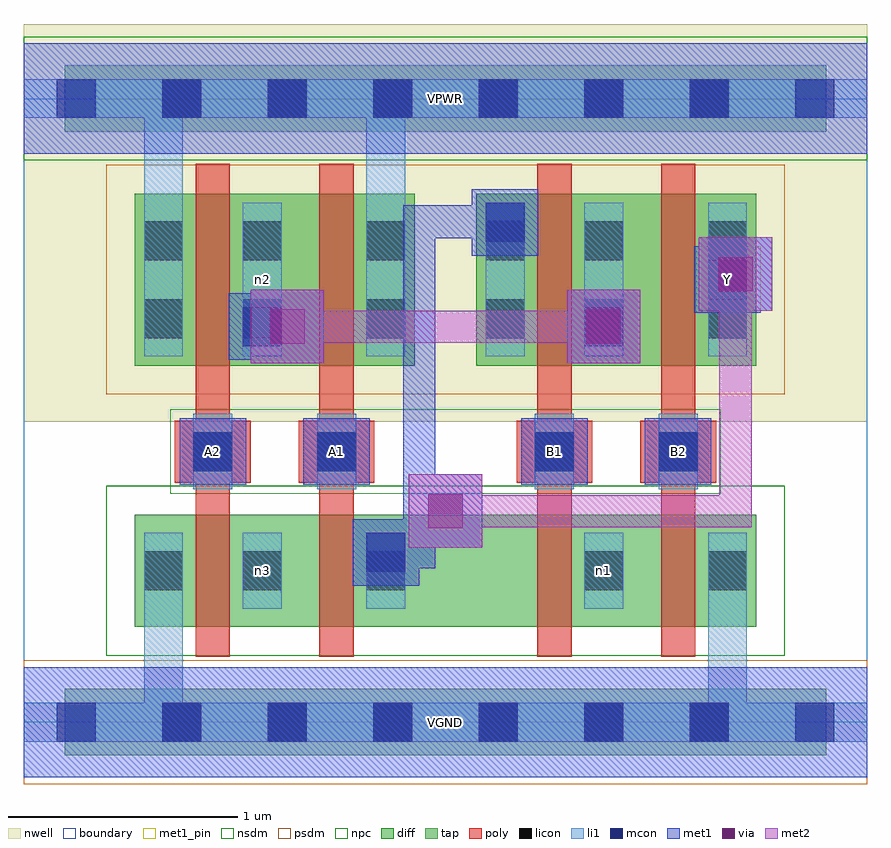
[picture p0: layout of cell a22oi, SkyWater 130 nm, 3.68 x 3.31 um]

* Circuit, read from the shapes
.subckt a22oi A1 A2 B1 B2 VGND VPWR Y n1 n2 n3
XM1 n3 A2 VGND VGND sky130_fd_pr__nfet_01v8 w=0.49 l=0.15
XM2 Y A1 n3 VGND sky130_fd_pr__nfet_01v8 w=0.49 l=0.15
XM3 n1 B1 Y VGND sky130_fd_pr__nfet_01v8 w=0.49 l=0.15
XM4 VGND B2 n1 VGND sky130_fd_pr__nfet_01v8 w=0.49 l=0.15
XM5 n2 A2 VPWR VPWR sky130_fd_pr__pfet_01v8 w=0.75 l=0.15
XM6 VPWR A1 n2 VPWR sky130_fd_pr__pfet_01v8 w=0.75 l=0.15
XM7 n2 B1 Y VPWR sky130_fd_pr__pfet_01v8 w=0.75 l=0.15
XM8 Y B2 n2 VPWR sky130_fd_pr__pfet_01v8 w=0.75 l=0.15
.ends

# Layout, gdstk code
import gdstk
lib = gdstk.Library(unit=1e-6, precision=1e-09)
def R(c, l, rs):  # rectangles x0, y0, x1, y1
    for r in rs: c.add(gdstk.rectangle(r[:2], r[2:], *l))
def A(c, l, x, y, w, h, nx, ny, dx, dy):  # array of equal rectangles
    R(c, l, [(x+i*dx, y+j*dy, x+i*dx+w, y+j*dy+h) for i in range(nx) for j in range(ny)])
nwell = (64, 20)
diff = (65, 20)
tap = (65, 44)
poly = (66, 20)
licon = (66, 44)
li1 = (67, 20)
mcon = (67, 44)
met1_pin = (68, 16)
met1 = (68, 20)
via = (68, 44)
met2 = (69, 20)
nsdm = (93, 44)
psdm = (94, 20)
npc = (95, 20)
boundary = (235, 4)

a22oi = lib.new_cell('a22oi')
R(a22oi, nwell, [(0,1.31,3.68,3.045)])
R(a22oi, diff, [(0.485,0.415,3.195,0.905), (0.485,1.555,1.705,2.305), (1.975,1.555,3.195,2.305)])
R(a22oi, tap, [(0.18,-0.145,3.5,0.145), (0.18,2.575,3.5,2.865)])
R(a22oi, poly, [(0.75,0.285,0.9,2.435), (1.29,0.285,1.44,2.435), (2.24,0.285,2.39,2.435), (2.78,0.285,2.93,2.435), (0.66,1.045,0.99,1.315), (1.2,1.045,1.53,1.315), (2.15,1.045,2.48,1.315), (2.69,1.045,3.02,1.315)])
A(a22oi, licon, 0.605, -0.085, 0.17, 0.17, 6, 2, 0.46, 2.72)
R(a22oi, licon, [(0.525,0.575,0.695,0.745), (0.955,0.575,1.125,0.745), (1.495,0.575,1.665,0.745), (2.445,0.575,2.615,0.745), (2.985,0.575,3.155,0.745), (0.74,1.095,0.91,1.265), (1.28,1.095,1.45,1.265), (2.23,1.095,2.4,1.265), (2.77,1.095,2.94,1.265), (0.525,1.675,0.695,1.845), (0.955,1.675,1.125,1.845), (1.495,1.675,1.665,1.845), (2.015,1.675,2.185,1.845), (2.445,1.675,2.615,1.845), (2.985,1.675,3.155,1.845), (0.525,2.015,0.695,2.185), (0.955,2.015,1.125,2.185), (1.495,2.015,1.665,2.185), (2.015,2.015,2.185,2.185), (2.445,2.015,2.615,2.185), (2.985,2.015,3.155,2.185)])
R(a22oi, li1, [(0,-0.085,3.68,0.085), (0.525,-0.085,0.695,0.825), (2.985,-0.085,3.155,0.825), (0.525,0.495,0.695,0.825), (0.955,0.495,1.125,0.825), (1.495,0.495,1.665,0.825), (2.445,0.495,2.615,0.825), (2.985,0.495,3.155,0.825), (0.74,1.015,0.91,1.345), (1.28,1.015,1.45,1.345), (2.23,1.015,2.4,1.345), (2.77,1.015,2.94,1.345), (0.525,1.595,0.695,2.265), (0.525,1.595,0.695,2.805), (0.955,1.595,1.125,2.265), (1.495,1.595,1.665,2.265), (1.495,1.595,1.665,2.805), (2.015,1.595,2.185,2.265), (2.445,1.595,2.615,2.265), (2.985,1.595,3.155,2.265), (0,2.635,3.68,2.805)])
A(a22oi, mcon, 0.145, -0.085, 0.17, 0.17, 8, 2, 0.46, 2.72)
R(a22oi, mcon, [(1.495,0.655,1.665,0.825), (0.74,1.095,0.91,1.265), (1.28,1.095,1.45,1.265), (2.23,1.095,2.4,1.265), (2.77,1.095,2.94,1.265), (0.955,1.64,1.125,1.81), (2.445,1.64,2.615,1.81), (2.985,1.845,3.155,2.015), (2.015,2.095,2.185,2.265)])
R(a22oi, met1_pin, [(0,-0.24,3.68,0.24), (0.68,1.035,0.97,1.325), (1.22,1.035,1.51,1.325), (2.17,1.035,2.46,1.325), (2.71,1.035,3,1.325), (2.925,1.785,3.215,2.075), (0,2.48,3.68,2.96)])
R(a22oi, met1, [(0,-0.24,3.68,0.24), (1.435,0.595,1.725,0.885), (1.51,0.67,1.795,0.81), (1.655,0.67,1.795,0.99), (1.68,0.76,2,1.08), (1.655,0.85,1.91,0.99), (1.655,0.85,1.795,2.255), (0.68,1.035,0.97,1.325), (1.22,1.035,1.51,1.325), (2.17,1.035,2.46,1.325), (2.71,1.035,3,1.325), (0.99,1.565,1.31,1.885), (2.37,1.565,2.69,1.885), (0.895,1.58,1.185,1.87), (2.385,1.58,2.675,1.87), (0.97,1.655,1.22,1.795), (2.925,1.785,3.215,2.075), (2.945,1.795,3.265,2.115), (3.035,1.885,3.175,2.025), (1.955,2.035,2.245,2.325), (1.795,2.11,1.885,2.25), (1.795,2.11,1.885,2.255), (1.885,2.11,2.17,2.25), (1.885,2.11,2.025,2.255), (1.655,2.115,2.025,2.255), (0,2.48,3.68,2.96)])
R(a22oi, via, [(1.765,0.845,1.915,0.995), (1.075,1.65,1.225,1.8), (2.455,1.65,2.605,1.8), (3.03,1.88,3.18,2.03)])
R(a22oi, met2, [(1.68,0.76,2,1.08), (1.77,0.85,3.175,0.99), (3.035,0.85,3.175,2.025), (0.99,1.565,1.31,1.885), (2.37,1.565,2.69,1.885), (1.08,1.655,2.6,1.795), (2.945,1.795,3.265,2.115)])
R(a22oi, nsdm, [(0.36,0.29,3.32,1.03), (0,2.45,3.68,2.99)])
R(a22oi, psdm, [(0,-0.27,3.68,0.27), (0.36,1.43,3.32,2.43)])
R(a22oi, npc, [(0.64,0.995,3.04,1.365)])
R(a22oi, boundary, [(0,0,3.68,2.72)])
a22oi.add(gdstk.Label('n3', (1.04,0.66), layer=67, texttype=5))
a22oi.add(gdstk.Label('n1', (2.53,0.66), layer=67, texttype=5))
a22oi.add(gdstk.Label('n2', (1.04,1.93), layer=67, texttype=5))
a22oi.add(gdstk.Label('A1', (1.365,1.18), layer=68, texttype=5))
a22oi.add(gdstk.Label('A2', (0.825,1.18), layer=68, texttype=5))
a22oi.add(gdstk.Label('B1', (2.315,1.18), layer=68, texttype=5))
a22oi.add(gdstk.Label('B2', (2.855,1.18), layer=68, texttype=5))
a22oi.add(gdstk.Label('Y', (3.07,1.93), layer=68, texttype=5))
a22oi.add(gdstk.Label('VPWR', (1.84,2.72), layer=68, texttype=5))
a22oi.add(gdstk.Label('VGND', (1.84,0), layer=68, texttype=5))
a22oi.add(gdstk.Label('A1', (1.365,1.18), layer=68, texttype=16))
a22oi.add(gdstk.Label('A2', (0.825,1.18), layer=68, texttype=16))
a22oi.add(gdstk.Label('B1', (2.315,1.18), layer=68, texttype=16))
a22oi.add(gdstk.Label('B2', (2.855,1.18), layer=68, texttype=16))
a22oi.add(gdstk.Label('Y', (3.07,1.93), layer=68, texttype=16))
a22oi.add(gdstk.Label('VPWR', (1.84,2.72), layer=68, texttype=16))
a22oi.add(gdstk.Label('VGND', (1.84,0), layer=68, texttype=16))

lib.write_gds('a22oi.gds')
